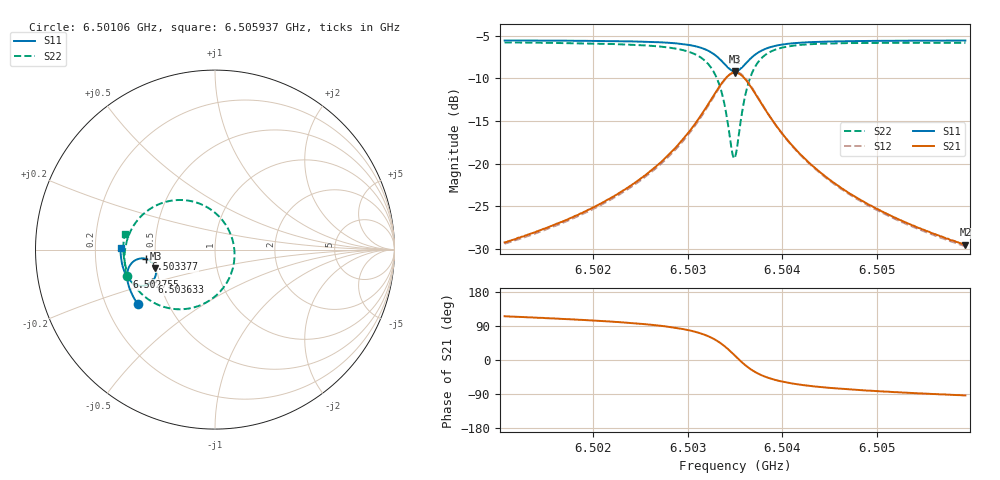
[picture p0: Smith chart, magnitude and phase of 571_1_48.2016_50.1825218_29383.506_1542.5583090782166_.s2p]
#  HZ  S  RI  R  50.00
! Rohde & Schwarz Vector Network Analyzer
! Rohde-Schwarz,ZNB20-2Port,1311601062101988,3.16
! Created: UTC 3/20/2024, 12:01:41 PM
! freq[Hz]  re:S11  im:S11  re:S21  im:S21  re:S12  im:S12  re:S22  im:S22
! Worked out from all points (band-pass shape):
!   401 points, 6.50106 GHz to 6.505937 GHz, reference 50 ohm
!   highest |S21| = -9.33 dB at 6.503499 GHz (marker M1); lowest = -29.5 dB at 6.505937 GHz (marker M2)
!   |S21| within 3 dB of the highest: 6.503255 GHz to 6.503743 GHz (487.5 kHz wide, 0.0075 % of centre)
!   lowest |S11| = -9.2 dB at 6.503499 GHz (marker M3), VSWR 2.06, Z = 24.6 - j5.76 ohm
!   |S11| at or under -10 dB: nowhere
!   |S22| runs from -19.4 to -5.8 dB; largest |S21 - S12| = 0.012
!   S11 on the Smith chart (normalised r, x): 6.50106 GHz: 0.34, -0.28; 6.502755 GHz: 0.33, -0.13; 6.503377 GHz: 0.44, -0.05; 6.503633 GHz: 0.45, -0.19; 6.505937 GHz: 0.31, +0.01
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6.5010598e9  -0.4312 -0.3031  -0.0148 0.0312  -0.0131 0.0312  -0.4922 -0.1457
6.5018768e9  -0.4657 -0.2418  -0.014 0.0493  -0.0117 0.049  -0.5039 -0.0572
6.5023401e9  -0.4814 -0.1997  -0.0107 0.0701  -0.00767 0.069  -0.4993 0.0106
6.5026938e9  -0.4892 -0.1595  -0.00136 0.0997  0.00222 0.0972  -0.479 0.0842
6.5027547e9  -0.4897 -0.1512  0.00177 0.1071  0.00552 0.1043  -0.4717 0.1003
6.5029742e9  -0.486 -0.1163  0.024 0.1426  0.0277 0.1383  -0.4253 0.1713
6.5031328e9  -0.4712 -0.0839  0.0637 0.1787  0.0665 0.173  -0.3483 0.2351
6.5032791e9  -0.4331 -0.0541  0.146 0.2077  0.1466 0.2016  -0.1986 0.2764
6.5033279e9  -0.4116 -0.0492  0.1889 0.2064  0.1888 0.2011  -0.1236 0.268
6.5033766e9  -0.3861 -0.0512  0.2381 0.1912  0.238 0.1868  -0.0393 0.2335
6.503462e9  -0.3428 -0.0806  0.3171 0.1162  0.3198 0.1124  0.0869 0.0857
6.5034986e9  -0.3317 -0.1028  0.3351 0.0671  0.3388 0.062  0.1083 -0.0064
6.503523e9  -0.3286 -0.1193  0.3387 0.0321  0.3428 0.0256  0.106 -0.0704
6.5035595e9  -0.3308 -0.1437  0.3312 -0.0185  0.3352 -0.0272  0.0789 -0.1603
6.5036327e9  -0.3531 -0.1812  0.2842 -0.0959  0.2846 -0.1071  -0.0322 -0.2846
6.5037425e9  -0.3993 -0.2017  0.1964 -0.1416  0.1913 -0.1515  -0.2102 -0.3322
6.503901e9  -0.447 -0.1923  0.1116 -0.1377  0.1047 -0.143  -0.3626 -0.2832
6.5040717e9  -0.4751 -0.1709  0.0657 -0.1164  0.0595 -0.1189  -0.4368 -0.2161
6.5043156e9  -0.4961 -0.141  0.0349 -0.091  0.03 -0.0916  -0.4813 -0.1423
6.5046936e9  -0.5122 -0.1008  0.015 -0.0662  0.0117 -0.0658  -0.5046 -0.0645
6.5051326e9  -0.5212 -0.0597  0.00539 -0.0496  0.00297 -0.049  -0.5107 -0.000749
6.5059374e9  -0.5264 0.00887  -0.00198 -0.0334  -0.00335 -0.0326  -0.5033 0.086
